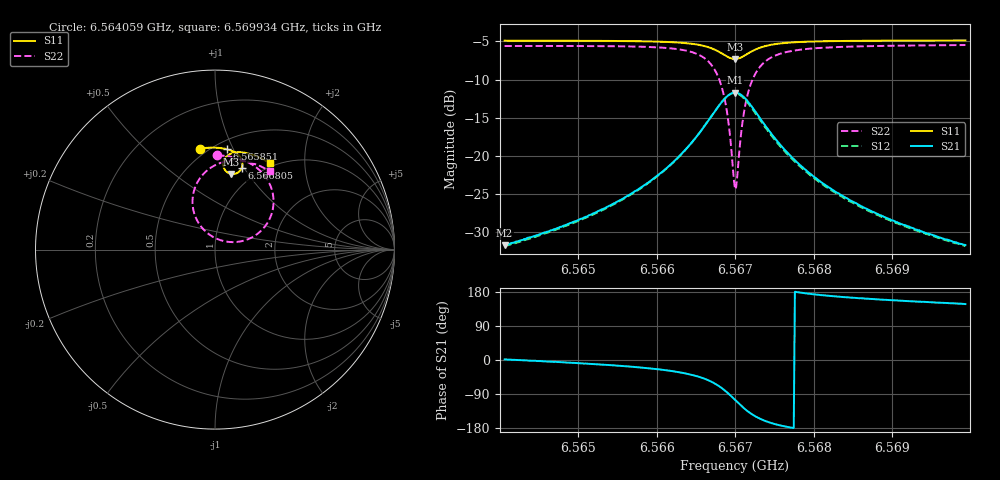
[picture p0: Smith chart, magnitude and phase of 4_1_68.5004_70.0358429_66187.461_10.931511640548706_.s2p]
#  HZ  S  RI  R  50.00
! Rohde & Schwarz Vector Network Analyzer
! Rohde-Schwarz,ZNB20-2Port,1311601062101988,3.16
! Created: UTC 3/20/2024, 5:03:53 PM
! freq[Hz]  re:S11  im:S11  re:S21  im:S21  re:S12  im:S12  re:S22  im:S22
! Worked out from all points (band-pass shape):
!   401 points, 6.564059 GHz to 6.569934 GHz, reference 50 ohm
!   highest |S21| = -11.72 dB at 6.566996 GHz (marker M1); lowest = -31.8 dB at 6.564059 GHz (marker M2)
!   |S21| within 3 dB of the highest: 6.566703 GHz to 6.56729 GHz (586.9 kHz wide, 0.00894 % of centre)
!   lowest |S11| = -7.3 dB at 6.566996 GHz (marker M3), VSWR 2.52, Z = 40.3 + j41.8 ohm
!   |S11| at or under -10 dB: nowhere
!   |S22| runs from -24.4 to -5.5 dB; largest |S21 - S12| = 0.012
!   S11 on the Smith chart (normalised r, x): 6.564059 GHz: 0.45, +0.75; 6.565851 GHz: 0.58, +0.94; 6.566805 GHz: 0.83, +0.97; 6.569934 GHz: 0.94, +1.35
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6.564059e9  -0.0857 0.5625  0.0258 0.000634  0.0255 0.000305  0.013 0.5246
6.565043e9  -0.00629 0.568  0.0382 -0.00594  0.0375 -0.00654  0.1026 0.5148
6.5658508e9  0.0661 0.5594  0.0602 -0.0231  0.0593 -0.0237  0.1982 0.4789
6.566027e9  0.0837 0.5542  0.0684 -0.0314  0.0674 -0.0324  0.2251 0.4615
6.5663355e9  0.1175 0.5377  0.0872 -0.0594  0.0858 -0.0604  0.2803 0.4067
6.5665558e9  0.1424 0.5125  0.1007 -0.1029  0.0986 -0.1048  0.3195 0.3224
6.5667026e9  0.1529 0.4823  0.0971 -0.1557  0.0934 -0.1583  0.3213 0.2218
6.5668054e9  0.1481 0.4533  0.0716 -0.2054  0.0653 -0.208  0.2778 0.1283
6.5668936e9  0.1283 0.4296  0.0207 -0.244  0.0116 -0.2445  0.1858 0.0584
6.5669817e9  0.0942 0.421  -0.0549 -0.2534  -0.0652 -0.2491  0.0513 0.047
6.5669964e9  0.0882 0.422  -0.0679 -0.2505  -0.078 -0.2452  0.0285 0.0531
6.5670257e9  0.0764 0.4257  -0.093 -0.241  -0.1023 -0.2341  -0.0143 0.0725
6.5670845e9  0.0577 0.4405  -0.1338 -0.2096  -0.1402 -0.2004  -0.0808 0.1324
6.5671285e9  0.0493 0.4549  -0.1536 -0.1803  -0.1576 -0.1705  -0.1104 0.186
6.5671873e9  0.0457 0.475  -0.1661 -0.141  -0.1673 -0.1316  -0.1252 0.2559
6.5672607e9  0.0496 0.4964  -0.166 -0.099  -0.1649 -0.0909  -0.1168 0.3289
6.5673782e9  0.0657 0.5197  -0.1495 -0.0528  -0.1469 -0.0472  -0.0772 0.4065
6.5675251e9  0.0888 0.5346  -0.1245 -0.0214  -0.1217 -0.0179  -0.0219 0.4573
6.5679804e9  0.1474 0.5422  -0.0739 0.00802  -0.0722 0.00909  0.0976 0.4962
6.568421e9  0.1903 0.534  -0.051 0.0132  -0.0496 0.0137  0.1665 0.4919
6.5689644e9  0.2353 0.5185  -0.0356 0.0143  -0.0349 0.0145  0.2265 0.4754
6.5699337e9  0.305 0.4826  -0.0219 0.0139  -0.0214 0.0138  0.3068 0.4355
